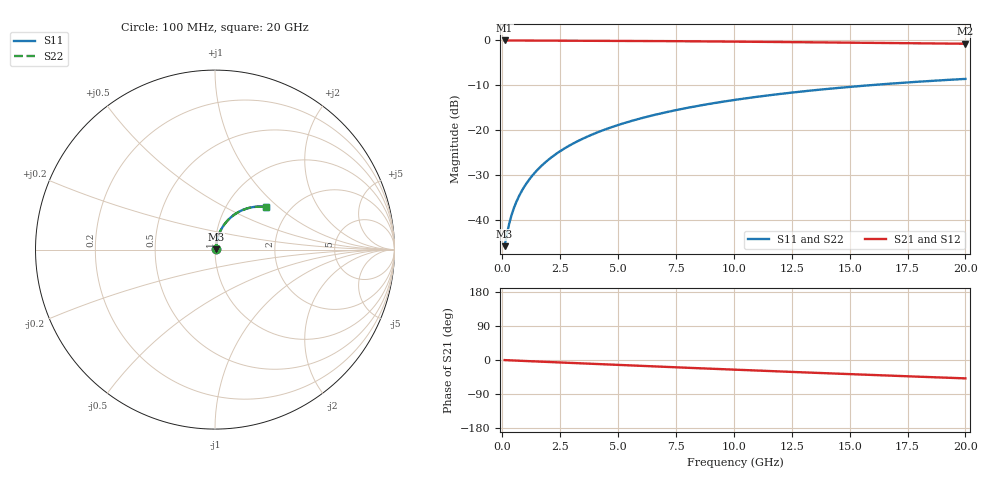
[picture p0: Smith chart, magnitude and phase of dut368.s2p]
! Touchstone file exported from HFSS 2026.1.0
!  File:  C:/ffzhzh/LocalFiles/Ansys_Project_Files/temp_train_TMRDL_368_1783004328_51716.aedt
!  Generated:  11:00:19 PM Jul  2, 2026
!  Design:  TMRDL
!  Project:  temp_train_TMRDL_368_1783004328_51716
! Variables:
!  h_bsmrdl = 2um
!  h_ox = 20um
!  h_rdl = 5um
!  h_sub = 80um
!  h_tmrdl = 2.81um
!  h_tsv = 80um
!  h_via = 3um
!  l_bsmrdl = 300um
!  l_sub = 1155.91um
!  l_tmrdl = 755.91um
!  m_sub = 200um
!  pitch = 43.04um
!  r_tsv = 6um
!  s_tmrdl = 10um
!  w_bsmrdl = 18um
!  w_sub = 500um
!  w_tmrdl = 23.38um
!  x_tsv_center1 = 767.6um
!  x_tsv_center2 = 1085.6um
!  x_tsv_center3 = 1864.89um
!  x_tsv_center4 = 2182.89um
!  x_tsv_center5 = 2962.18um
!  x_tsv_center6 = 3280.18um
# GHz S MA R 50.000000
! Terminal data exported
! Port[1] = TM_RDL1_1_T1
! Port[2] = TM_RDL1_1_T2
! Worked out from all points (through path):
!   200 points, 100 MHz to 20 GHz, reference 50 ohm
!   highest |S21| = -0.04 dB at 100 MHz (marker M1); lowest = -0.8 dB at 20 GHz (marker M2)
!   group delay of S21, straight-line fit = 6.74 ps
!   lowest |S11| = -45.9 dB at 100 MHz (marker M3), VSWR 1.01, Z = 50.4 + j0.267 ohm
!   |S11| at or under -10 dB: start of sweep to 15.92 GHz
!   |S22| runs from -45.9 to -8.6 dB; largest |S21 - S12| = 2.7e-15
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0.1  0.005067 31.5  0.9957 -0.3  0.9957 -0.3  0.005067 31.5
! Gamma 0 0 0 0
! Port Impedance 50 0 50 0
0.2  0.006918 48.8  0.9955 -0.6  0.9955 -0.6  0.006918 48.8
0.3  0.009063 57.6  0.9952 -0.8  0.9952 -0.8  0.009064 57.6
0.4  0.01126 62.7  0.995 -1.1  0.995 -1.1  0.01126 62.7
0.5  0.01345 66.0  0.9948 -1.4  0.9948 -1.4  0.01345 66.0
0.6  0.01563 68.4  0.9946 -1.6  0.9946 -1.6  0.01563 68.4
0.8  0.02001 71.7  0.9943 -2.1  0.9943 -2.1  0.02001 71.7
1.1  0.02663 74.6  0.9939 -2.9  0.9939 -2.9  0.02663 74.6
1.3  0.03108 75.7  0.9937 -3.4  0.9937 -3.4  0.03108 75.7
1.6  0.0378 76.7  0.9933 -4.2  0.9933 -4.2  0.0378 76.7
2.1  0.04906 77.3  0.9927 -5.5  0.9927 -5.5  0.04906 77.3
2.7  0.06257 77.1  0.9917 -7.0  0.9917 -7.0  0.06258 77.1
3.5  0.08051 76.2  0.9901 -9.1  0.9901 -9.1  0.08052 76.1
4.2  0.09607 74.9  0.9884 -10.9  0.9884 -10.9  0.09607 74.9
5  0.1136 73.3  0.9862 -13.0  0.9862 -13.0  0.1136 73.3
5.9  0.133 71.4  0.9833 -15.2  0.9833 -15.2  0.133 71.4
6.8  0.152 69.4  0.9801 -17.5  0.9801 -17.5  0.152 69.3
8.3  0.1827 65.9  0.974 -21.3  0.974 -21.3  0.1827 65.9
10.1  0.2177 61.7  0.9659 -25.7  0.9659 -25.7  0.2177 61.6
13.4  0.2764 54.1  0.9495 -33.6  0.9495 -33.6  0.2764 54.0
16.7  0.3276 46.7  0.9322 -41.2  0.9322 -41.2  0.3276 46.6
20  0.3712 39.6  0.9153 -48.5  0.9153 -48.5  0.3712 39.5
